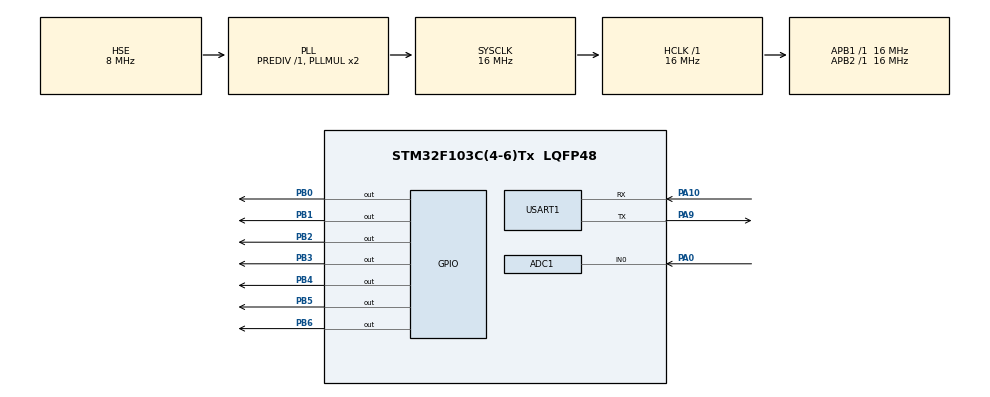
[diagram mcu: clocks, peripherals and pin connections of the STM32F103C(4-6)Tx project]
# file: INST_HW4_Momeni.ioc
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ADC1.Channel-0\#ChannelRegularConversion=ADC_CHANNEL_0
ADC1.NbrOfConversionFlag=1
ADC1.Rank-0\#ChannelRegularConversion=1
ADC1.SamplingTime-0\#ChannelRegularConversion=ADC_SAMPLETIME_1CYCLE_5
ADC1.master=1
Mcu.Family=STM32F1
Mcu.Name=STM32F103C(4-6)Tx
Mcu.Package=LQFP48
NVIC.ADC1_2_IRQn=true\:0\:0\:false\:false\:true\:true\:true\:true
NVIC.PriorityGroup=NVIC_PRIORITYGROUP_4
NVIC.TIM2_IRQn=true\:0\:0\:false\:false\:true\:true\:true\:true
PA0-WKUP.Signal=ADCx_IN0
PA10.Mode=Asynchronous
PA10.Signal=USART1_RX
PA9.Mode=Asynchronous
PA9.Signal=USART1_TX
PB0.GPIO_Speed=GPIO_SPEED_FREQ_MEDIUM
PB0.PinState=GPIO_PIN_SET
PB0.Signal=GPIO_Output
PB1.GPIO_Speed=GPIO_SPEED_FREQ_MEDIUM
PB1.PinState=GPIO_PIN_SET
PB1.Signal=GPIO_Output
PB2.GPIO_Speed=GPIO_SPEED_FREQ_MEDIUM
PB2.PinState=GPIO_PIN_SET
PB2.Signal=GPIO_Output
PB3.GPIO_Speed=GPIO_SPEED_FREQ_MEDIUM
PB3.PinState=GPIO_PIN_SET
PB3.Signal=GPIO_Output
PB4.GPIO_Speed=GPIO_SPEED_FREQ_MEDIUM
PB4.PinState=GPIO_PIN_SET
PB4.Signal=GPIO_Output
PB5.GPIO_Speed=GPIO_SPEED_FREQ_MEDIUM
PB5.PinState=GPIO_PIN_SET
PB5.Signal=GPIO_Output
PB6.GPIO_Speed=GPIO_SPEED_FREQ_MEDIUM
PB6.PinState=GPIO_PIN_SET
PB6.Signal=GPIO_Output
PD0-OSC_IN.Mode=HSE-External-Oscillator
PD0-OSC_IN.Signal=RCC_OSC_IN
PD1-OSC_OUT.Mode=HSE-External-Oscillator
PD1-OSC_OUT.Signal=RCC_OSC_OUT
ProjectManager.HeapSize=0x200
ProjectManager.StackSize=0x400
ProjectManager.TargetToolchain=STM32CubeIDE
RCC.AHBFreq_Value=16000000
RCC.APB1Freq_Value=16000000
RCC.APB1TimFreq_Value=16000000
RCC.APB2Freq_Value=16000000
RCC.APB2TimFreq_Value=16000000
RCC.HCLKFreq_Value=16000000
RCC.PLLSourceVirtual=RCC_PLLSOURCE_HSE
RCC.SYSCLKFreq_VALUE=16000000
RCC.SYSCLKSource=RCC_SYSCLKSOURCE_PLLCLK
RCC.USBFreq_Value=16000000
SH.ADCx_IN0.0=ADC1_IN0,IN0
TIM2.Period=25999
TIM2.Prescaler=1
USART1.VirtualMode=VM_ASYNC
VP_SYS_VS_ND.Mode=No_Debug
VP_TIM2_VS_ClockSourceINT.Mode=Internal
board=custom

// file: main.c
/* USER CODE BEGIN Header */
/**
  ******************************************************************************
  * @file           : main.c
  * @brief          : Main program body
  ******************************************************************************
  * @attention
  *
  * Copyright (c) 2024 STMicroelectronics.
  * All rights reserved.
  *
  * This software is licensed under terms that can be found in the LICENSE file
  * in the root directory of this software component.
  * If no LICENSE file comes with this software, it is provided AS-IS.
  *
  ******************************************************************************
  */
/* USER CODE END Header */
#include "main.h"
#include "adc.h"
#include "tim.h"
#include "usart.h"
#include "gpio.h"
#include "../../ECUAL/LCD16X2/LCD16X2.h"
#include <stdio.h>
#include <stdlib.h>
#include <string.h>
#define MyLCD LCD16X2_1
/* USER CODE BEGIN Includes */
char value[12];
int a = 1;
int adc_valid = 0;
float adc_result = 0;
float test = 1.26;
float slope =0;
float result;
float v = 0;
float* result_t;
uint8_t buff[16];
char res_str[16];
char* in;
char* fl;
char dot = '.';
char* deci;
int maiin = 0;
int dec = 0;
/* USER CODE END Includes */

void SystemClock_Config(void);

/* USER CODE BEGIN 0 */
void HAL_ADC_ConvCpltCallback(ADC_HandleTypeDef* hadc){
	if (hadc == &hadc1){
		adc_valid = 1;
		adc_result = HAL_ADC_GetValue(&hadc1);
	}
}

/* USER CODE END 0 */

int main(void)
{

  /* MCU Configuration--------------------------------------------------------*/

  /* Reset of all peripherals, Initializes the Flash interface and the Systick. */
  HAL_Init();

  /* Configure the system clock */
  SystemClock_Config();

  /* USER CODE BEGIN SysInit */
	  MX_GPIO_Init();
	  /* USER CODE BEGIN 2 */

  /* USER CODE END SysInit */

  /* Initialize all configured peripherals */
  MX_GPIO_Init();
  MX_TIM2_Init();
  MX_USART1_UART_Init();
  MX_ADC1_Init();
  /* USER CODE BEGIN 2 */

  /* USER CODE END SysInit */

  /* Initialize all configured peripherals */
  MX_GPIO_Init();
  MX_TIM2_Init();
  MX_USART1_UART_Init();
  MX_ADC1_Init();
  /* USER CODE BEGIN 2 */

  /* USER CODE END SysInit */

  /* Initialize all configured peripherals */
  MX_GPIO_Init();
  MX_TIM2_Init();
  MX_USART1_UART_Init();
  /* USER CODE BEGIN 2 */

  /* USER CODE END SysInit */

  /* Initialize all configured peripherals */
  MX_GPIO_Init();
  MX_TIM2_Init();
  MX_USART1_UART_Init();
  /* USER CODE BEGIN 2 */

  /* USER CODE END SysInit */

  /* Initialize all configured peripherals */
  MX_GPIO_Init();
  MX_TIM2_Init();
  MX_USART1_UART_Init();
  /* USER CODE BEGIN 2 */

  /* USER CODE END SysInit */

  /* Initialize all configured peripherals */
  MX_GPIO_Init();
  MX_TIM2_Init();
  MX_USART1_UART_Init();
  /* USER CODE BEGIN 2 */

  /* USER CODE END SysInit */

  /* Initialize all configured peripherals */
  MX_GPIO_Init();
  MX_TIM2_Init();
  /* USER CODE BEGIN 2 */

  /* USER CODE END SysInit */

  /* Initialize all configured peripherals */
  MX_GPIO_Init();
  MX_TIM2_Init();
  /* USER CODE BEGIN 2 */

  /* USER CODE END SysInit */

  /* Initialize all configured peripherals */
  MX_GPIO_Init();
  MX_TIM2_Init();
  /* USER CODE BEGIN 2 */

  /* USER CODE END SysInit */

  /* Initialize all configured peripherals */
  MX_GPIO_Init();
  MX_TIM2_Init();
  /* USER CODE BEGIN 2 */

  /* USER CODE END SysInit */

  /* Initialize all configured peripherals */
  MX_GPIO_Init();
  MX_TIM2_Init();
  /* USER CODE BEGIN 2 */

  /* USER CODE END SysInit */

  /* Initialize all configured peripherals */
  MX_GPIO_Init();
  MX_TIM2_Init();
  /* USER CODE BEGIN 2 */

  /* USER CODE END SysInit */

  /* Initialize all configured peripherals */
  MX_GPIO_Init();
  MX_TIM2_Init();
  /* USER CODE BEGIN 2 */

  /* USER CODE END SysInit */

  /* Initialize all configured peripherals */
  MX_GPIO_Init();
  MX_TIM2_Init();
  /* USER CODE BEGIN 2 */

  /* USER CODE END SysInit */

  /* Initialize all configured peripherals */
  MX_GPIO_Init();
  MX_TIM2_Init();
  /* USER CODE BEGIN 2 */

  /* USER CODE END SysInit */

  /* Initialize all configured peripherals */
  MX_GPIO_Init();
  MX_TIM2_Init();
  /* USER CODE BEGIN 2 */

  /* USER CODE END SysInit */

  /* Initialize all configured peripherals */
  MX_GPIO_Init();

  /* USER CODE BEGIN 2 */
  LCD16X2_Init(MyLCD);
       LCD16X2_Clear(MyLCD);
       HAL_ADC_Start_IT(&hadc1);

   /* USER CODE END SysInit */

   /* Initialize all configured peripherals */

       MX_GPIO_Init();
//res_str = " hello ";

	  /* USER CODE END SysInit */

	  /* Initialize all configured peripherals */
  HAL_TIM_Base_Start_IT(&htim2);
	      MX_GPIO_Init();
  /* USER CODE END 2 */

  while (1)
  {
    /* USER CODE END WHILE */

    /* USER CODE BEGIN 3 */
	  HAL_UART_Receive(&huart1, buff, 16, 200);
//	  	   sprintf(res_str, "%f", buff);
	  	 LCD16X2_Init(MyLCD);
	  	 	      LCD16X2_Clear(MyLCD);

	  	 	      LCD16X2_Set_Cursor(MyLCD, 1, 1);
	  	 	      LCD16X2_Write_String(MyLCD, buff);

	  HAL_Delay(100);
    /* USER CODE BEGIN 3 */
  }
  /* USER CODE END 3 */
}

void SystemClock_Config(void)
{
  RCC_OscInitTypeDef RCC_OscInitStruct = {0};
  RCC_ClkInitTypeDef RCC_ClkInitStruct = {0};
  RCC_PeriphCLKInitTypeDef PeriphClkInit = {0};

  /** Initializes the RCC Oscillators according to the specified parameters
  * in the RCC_OscInitTypeDef structure.
  */
  RCC_OscInitStruct.OscillatorType = RCC_OSCILLATORTYPE_HSE;
  RCC_OscInitStruct.HSEState = RCC_HSE_ON;
  RCC_OscInitStruct.HSEPredivValue = RCC_HSE_PREDIV_DIV1;
  RCC_OscInitStruct.HSIState = RCC_HSI_ON;
  RCC_OscInitStruct.PLL.PLLState = RCC_PLL_ON;
  RCC_OscInitStruct.PLL.PLLSource = RCC_PLLSOURCE_HSE;
  RCC_OscInitStruct.PLL.PLLMUL = RCC_PLL_MUL2;
  if (HAL_RCC_OscConfig(&RCC_OscInitStruct) != HAL_OK)
  {
    Error_Handler();
  }

  /** Initializes the CPU, AHB and APB buses clocks
  */
  RCC_ClkInitStruct.ClockType = RCC_CLOCKTYPE_HCLK|RCC_CLOCKTYPE_SYSCLK
                              |RCC_CLOCKTYPE_PCLK1|RCC_CLOCKTYPE_PCLK2;
  RCC_ClkInitStruct.SYSCLKSource = RCC_SYSCLKSOURCE_PLLCLK;
  RCC_ClkInitStruct.AHBCLKDivider = RCC_SYSCLK_DIV1;
  RCC_ClkInitStruct.APB1CLKDivider = RCC_HCLK_DIV1;
  RCC_ClkInitStruct.APB2CLKDivider = RCC_HCLK_DIV1;

  if (HAL_RCC_ClockConfig(&RCC_ClkInitStruct, FLASH_LATENCY_0) != HAL_OK)
  {
    Error_Handler();
  }
  PeriphClkInit.PeriphClockSelection = RCC_PERIPHCLK_ADC;
  PeriphClkInit.AdcClockSelection = RCC_ADCPCLK2_DIV2;
  if (HAL_RCCEx_PeriphCLKConfig(&PeriphClkInit) != HAL_OK)
  {
    Error_Handler();
  }
}

/* USER CODE BEGIN 4 */
//void HAL_ADC_ConvCpltCallback(ADC_HandleTypeDef* hadc){
//	if (hadc == &hadc1){
//		adc_valid = 1;
//		adc_result = HAL_ADC_GetValue(&hadc1);
//	}
//}
/* USER CODE END 4 */

void Error_Handler(void)
{
  __disable_irq();
  while (1)
  {
  }
}
